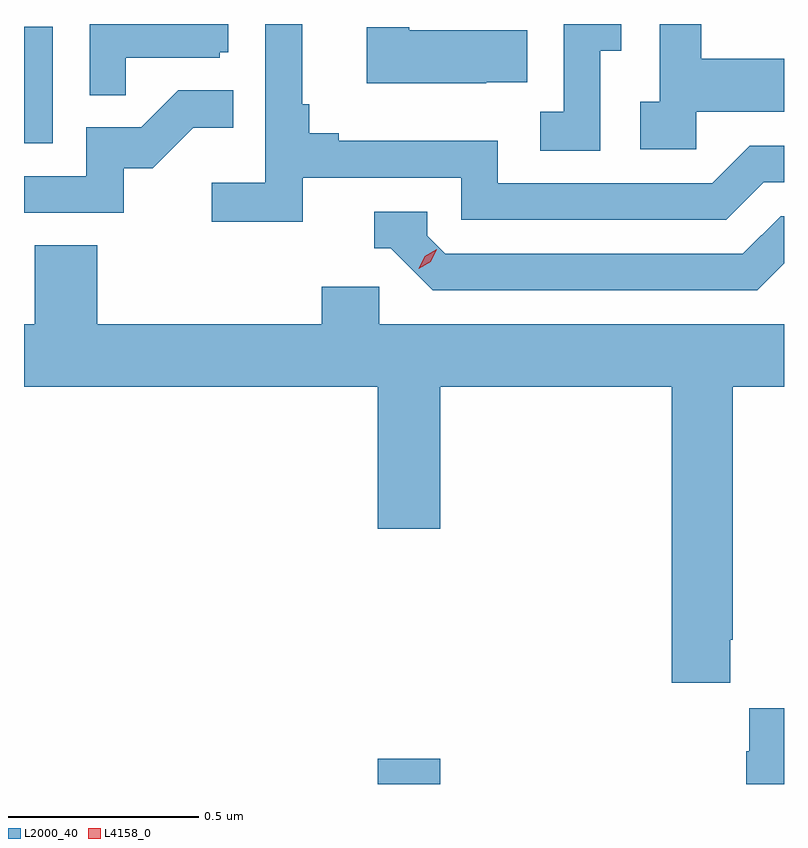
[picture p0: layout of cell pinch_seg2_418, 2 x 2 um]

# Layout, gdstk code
import gdstk
lib = gdstk.Library(unit=1e-6, precision=1e-09)
def R(c, l, rs):  # rectangles x0, y0, x1, y1
    for r in rs: c.add(gdstk.rectangle(r[:2], r[2:], *l))
def P(c, l, *ps):  # polygons
    for p in ps: c.add(gdstk.Polygon(p, *l))
L2000_40 = (2000, 40)
L4158_0 = (4158, 0)

pinch_seg2_418 = lib.new_cell('pinch_seg2_418')
R(pinch_seg2_418, L2000_40, [(992.18,614.622,992.344,614.689), (991.249,616.308,991.324,616.615)])
P(pinch_seg2_418, L2000_40, [(993.018,616.391),(993.249,616.391),(993.249,616.531),(993.031,616.531),(993.031,616.622),(992.922,616.622),(992.922,616.418),(992.871,616.418),(992.871,616.293),(993.018,616.293)],
  [(991.982,616.218),(992.4,616.218),(992.4,616.107),(993.097,616.107),(993.196,616.206),(993.249,616.206),(993.249,616.302),(993.159,616.302),(993.06,616.203),(992.496,616.203),(992.496,616.315),(992.077,616.315),(992.077,616.334),(992,616.334),(992,616.411),(991.981,616.411),(991.981,616.622),(991.884,616.622),(991.884,616.204),(991.743,616.204),(991.743,616.102),(991.982,616.102)],
  [(992.766,616.552),(992.821,616.552),(992.821,616.622),(992.67,616.622),(992.67,616.391),(992.607,616.391),(992.607,616.288),(992.766,616.288)],
  [(991.517,616.533),(991.764,616.533),(991.764,616.548),(991.786,616.548),(991.786,616.622),(991.422,616.622),(991.422,616.435),(991.517,616.435)],
  [(992.465,616.469),(992.573,616.469),(992.573,616.606),(992.263,616.606),(992.263,616.614),(992.151,616.614),(992.151,616.466),(992.465,616.466)],
  [(991.512,616.242),(991.588,616.242),(991.695,616.349),(991.799,616.349),(991.799,616.448),(991.655,616.448),(991.557,616.35),(991.413,616.35),(991.413,616.221),(991.249,616.221),(991.249,616.125),(991.512,616.125)],
  [(993.249,615.992),(993.249,616.116),(993.24,616.116),(993.141,616.017),(992.358,616.017),(992.31,616.065),(992.31,616.128),(992.171,616.128),(992.171,616.032),(992.214,616.032),(992.325,615.921),(993.178,615.921)],
  [(993.107,615.001),(993.114,615.001),(993.114,615.668),(993.249,615.668),(993.249,615.832),(992.184,615.832),(992.184,615.93),(992.033,615.93),(992.033,615.832),(991.442,615.832),(991.442,616.04),(991.277,616.04),(991.277,615.832),(991.249,615.832),(991.249,615.668),(992.18,615.668),(992.18,615.294),(992.344,615.294),(992.344,615.668),(992.954,615.668),(992.954,614.889),(993.107,614.889)],
  [(993.249,614.821),(993.158,614.821),(993.158,614.708),(993.149,614.708),(993.149,614.622),(993.249,614.622)])
P(pinch_seg2_418, L4158_0, [(992.288,615.978),(992.288,615.978),(992.304,616.011),(992.335,616.029),(992.335,616.029),(992.335,616.029),(992.319,615.997),(992.288,615.978)])

lib.write_gds('pinch_seg2_418.gds')
